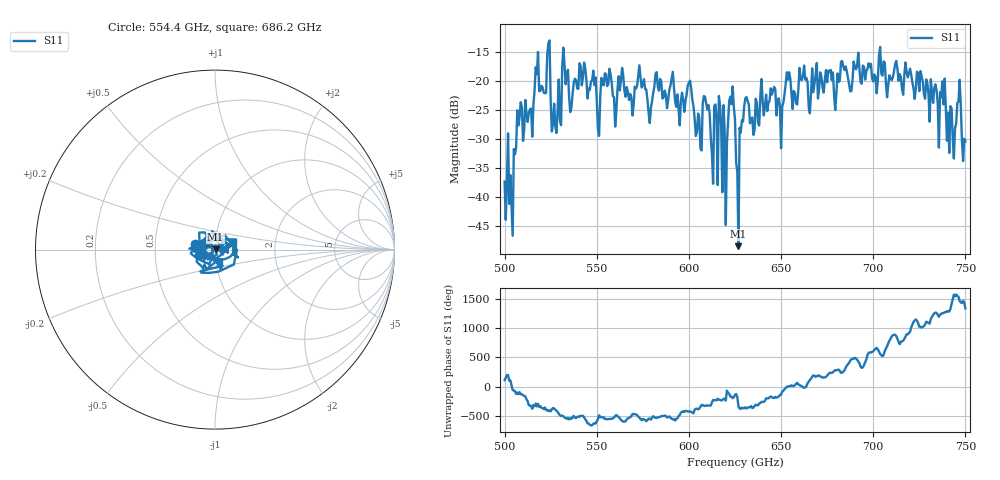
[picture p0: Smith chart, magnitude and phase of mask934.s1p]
!Created with skrf (http://scikit-rf.org).
# GHz S MA R 50.0
!freq magS11 angS11
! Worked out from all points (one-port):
!   401 points, 500 GHz to 750 GHz, reference 50 ohm
!   lowest |S11| = -48.4 dB at 626.9 GHz (marker M1), VSWR 1.01, Z = 50.4 + j0.145 ohm
!   |S11| at or under -10 dB: start of sweep to end of sweep
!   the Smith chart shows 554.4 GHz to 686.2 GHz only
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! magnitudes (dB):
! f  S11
! 500 GHz  -37.3
! 503.8 GHz  -41.4
! 508.1 GHz  -26.2
! 513.8 GHz  -24.9
! 517.5 GHz  -18.8
! 523.8 GHz  -13.5
! 526.9 GHz  -23.9
! 531.2 GHz  -17.6
! 541.9 GHz  -20.7
! 551.2 GHz  -29.4
! 562.5 GHz  -21.6
! 593.8 GHz  -22.3
! 600.6 GHz  -20.0
! 605.6 GHz  -26.3
! 609.4 GHz  -23.9
! 619.4 GHz  -28.5
! 622.5 GHz  -22.7
! 625 GHz  -26.6
! 626.9 GHz  -48.4
! 631.2 GHz  -22.8
! 634.4 GHz  -26.3
! 656.2 GHz  -24.8
! 687.5 GHz  -21.8
! 718.8 GHz  -19.4
! 737.5 GHz  -20.1
! 742.5 GHz  -24.7
! 746.2 GHz  -23.6
! 750 GHz  -30.4
